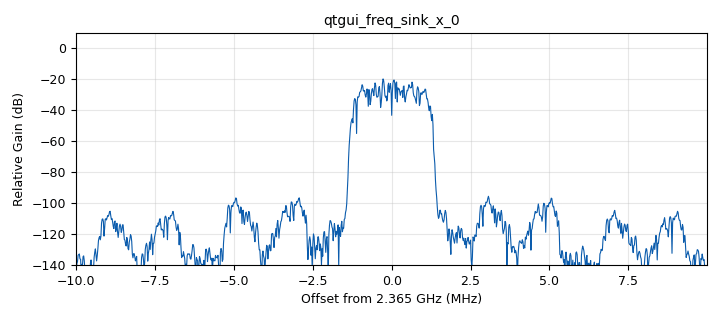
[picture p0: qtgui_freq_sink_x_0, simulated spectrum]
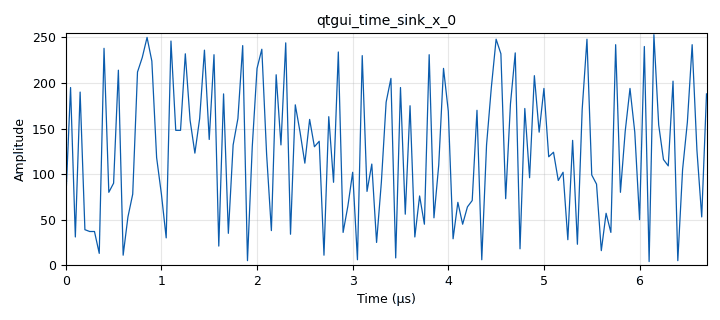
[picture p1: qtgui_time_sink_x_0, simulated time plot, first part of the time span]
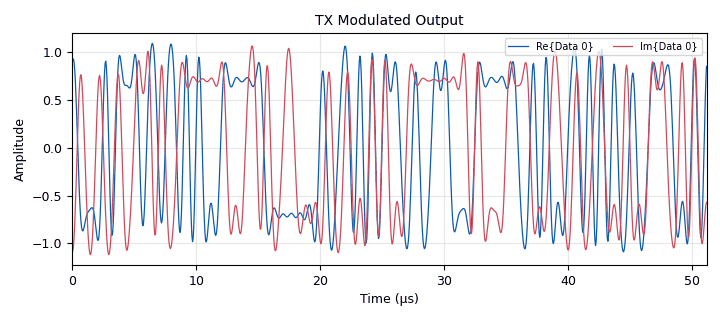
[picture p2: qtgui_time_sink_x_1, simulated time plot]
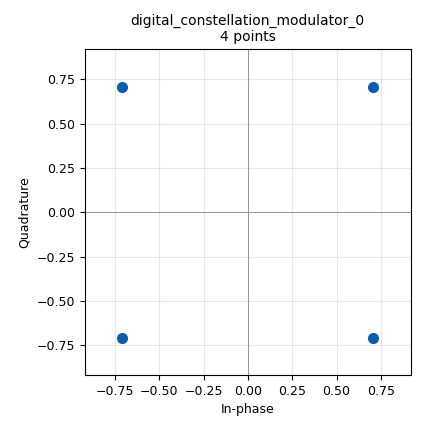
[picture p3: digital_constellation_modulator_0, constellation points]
options:
  parameters:
    author: matthew
    generate_options: qt_gui
    id: udp
    output_language: python
    title: Not titled yet
  states: {}

blocks:
- name: center_freq
  id: variable
  parameters:
    value: 2.365e9
  states: {}
- name: delay
  id: variable_qtgui_range
  parameters:
    comment: 0,3,1,1
    gui_hint: 5,1,1,1
    label: Delay
    rangeType: int
    start: '0'
    step: '1'
    stop: '500'
    value: '110'
  states: {}
- name: noise_volt
  id: variable_qtgui_range
  parameters:
    comment: 0,0,1,1
    gui_hint: 2,1,1,1
    label: 'Channel: Noise Voltage'
    start: '0'
    step: '0.01'
    stop: '1'
    value: '0.2'
  states: {}
- name: qpsk
  id: variable_constellation_rect
  parameters:
    const_points: '[0.707+0.707j, -0.707+0.707j, -0.707-0.707j, 0.707-0.707j]'
    imag_sect: '2'
    real_sect: '2'
    rot_sym: '4'
    sym_map: '[0, 1, 2, 3]'
    w_imag_sect: '1'
    w_real_sect: '1'
  states: {}
- name: rrc_taps
  id: variable_qtgui_range
  parameters:
    comment: 0,0,1,1
    gui_hint: 7,1,1,1
    label: RRC taps
    rangeType: int
    start: '0'
    step: '1'
    stop: '32'
    value: '8'
  states: {}
- name: samp_rate
  id: variable
  parameters:
    value: '20000000'
  states: {}
- name: signal_bandwidth
  id: variable
  parameters:
    comment: |-
      Adjust this value to set the 
      bandwidth of the signal
    value: 2e6
  states: {}
- name: sps
  id: variable
  parameters:
    value: int(samp_rate/signal_bandwidth)
  states: {}
- name: variable_adaptive_algorithm_0
  id: variable_adaptive_algorithm
  parameters:
    cons: qpsk
    modulus: '4'
    step_size: '.0001'
    type: cma
  states: {}
- name: analog_agc_xx_0
  id: analog_agc_xx
  parameters:
    gain: '1.0'
    max_gain: '65536'
    rate: '50e-6'
    reference: '1.0'
    type: complex
  states: {state: disabled}
- name: analog_random_source_x_0
  id: analog_random_source_x
  parameters:
    max: '255'
    min: '0'
    num_samps: '275'
    repeat: 'True'
    type: byte
  states: {}
- name: blocks_delay_0
  id: blocks_delay
  parameters:
    delay: delay
    type: byte
  states: {state: disabled}
- name: blocks_stream_to_tagged_stream_0
  id: blocks_stream_to_tagged_stream
  parameters:
    len_tag_key: '"packet_len"'
    packet_len: '550'
    type: byte
  states: {}
- name: blocks_sub_xx_0
  id: blocks_sub_xx
  parameters:
    type: float
  states: {state: disabled}
- name: blocks_throttle2_0
  id: blocks_throttle2
  parameters:
    samples_per_second: samp_rate
    type: byte
  states: {}
- name: blocks_uchar_to_float_0
  id: blocks_uchar_to_float
  parameters: {}
  states: {state: disabled}
- name: blocks_uchar_to_float_0_0
  id: blocks_uchar_to_float
  parameters: {}
  states: {state: disabled}
- name: blocks_uchar_to_float_1
  id: blocks_uchar_to_float
  parameters: {}
  states: {}
- name: blocks_unpack_k_bits_bb_0
  id: blocks_unpack_k_bits_bb
  parameters:
    k: '2'
  states: {state: disabled}
- name: blocks_unpack_k_bits_bb_1
  id: blocks_unpack_k_bits_bb
  parameters:
    k: '8'
  states: {state: disabled}
- name: channels_channel_model_0
  id: channels_channel_model
  parameters:
    epsilon: '1.0'
    freq_offset: '0.0'
    noise_voltage: noise_volt
    seed: '0'
    taps: '1.0'
  states: {}
- name: digital_constellation_decoder_cb_0
  id: digital_constellation_decoder_cb
  parameters:
    constellation: qpsk
  states: {state: disabled}
- name: digital_constellation_modulator_0
  id: digital_constellation_modulator
  parameters:
    constellation: qpsk
    differential: 'True'
    excess_bw: '0.35'
    samples_per_symbol: sps
  states: {}
- name: digital_costas_loop_cc_0
  id: digital_costas_loop_cc
  parameters:
    order: '4'
    w: '62.8e-3'
  states: {state: disabled}
- name: digital_diff_decoder_bb_0
  id: digital_diff_decoder_bb
  parameters:
    coding: digital.DIFF_DIFFERENTIAL
    modulus: '4'
  states: {state: disabled}
- name: digital_linear_equalizer_0
  id: digital_linear_equalizer
  parameters:
    alg: variable_adaptive_algorithm_0
    num_taps: '15'
    sps: '2'
  states: {state: disabled}
- name: digital_map_bb_0
  id: digital_map_bb
  parameters:
    map: '[0, 1, 2, 3]'
  states: {state: disabled}
- name: digital_symbol_sync_xx_0
  id: digital_symbol_sync_xx
  parameters:
    damping: '1.0'
    loop_bw: '62.8e-3'
    max_dev: '1.5'
    osps: '2'
    resamp_type: digital.IR_MMSE_8TAP
    sps: sps
    ted_gain: '1.0'
    ted_type: digital.TED_SIGNAL_TIMES_SLOPE_ML
    type: cc
  states: {state: disabled}
- name: fec_ber_bf_0
  id: fec_ber_bf
  parameters:
    test_mode: 'False'
  states: {state: disabled}
- name: network_udp_source_0
  id: network_udp_source
  parameters:
    header: '0'
    ipv6: 'False'
    notify_missed: 'False'
    payloadsize: '8'
    port: '12000'
    src_zeros: 'False'
    type: byte
  states: {state: disabled}
- name: qtgui_const_sink_x_0
  id: qtgui_const_sink_x
  parameters:
    size: '1024'
    type: complex
  states: {state: disabled}
- name: qtgui_freq_sink_x_0
  id: qtgui_freq_sink_x
  parameters:
    bw: samp_rate
    fc: center_freq
    fftsize: '1024'
    type: complex
  states: {}
- name: qtgui_number_sink_0
  id: qtgui_number_sink
  parameters:
    autoscale: 'True'
    graph_type: qtgui.NUM_GRAPH_HORIZ
    gui_hint: 6,1,1,1
    type: float
  states: {state: disabled}
- name: qtgui_time_sink_x_0
  id: qtgui_time_sink_x
  parameters:
    size: '1024'
    srate: samp_rate
    type: float
    ymax: '255'
    ymin: '0'
  states: {}
- name: qtgui_time_sink_x_1
  id: qtgui_time_sink_x
  parameters:
    autoscale: 'True'
    name: '"TX Modulated Output"'
    size: '1024'
    srate: samp_rate
    tr_level: '0.1'
    type: complex
  states: {}
- name: qtgui_time_sink_x_1_0
  id: qtgui_time_sink_x
  parameters:
    autoscale: 'True'
    name: '"RX Filtered Modulated Input"'
    size: '1024'
    srate: samp_rate
    type: complex
  states: {state: disabled}
- name: qtgui_time_sink_x_2
  id: qtgui_time_sink_x
  parameters:
    nconnections: '3'
    size: '1024'
    srate: samp_rate
    type: float
  states: {state: disabled}
- name: root_raised_cosine_filter_0
  id: root_raised_cosine_filter
  parameters:
    alpha: '0.35'
    decim: '1'
    gain: '1'
    ntaps: rrc_taps
    samp_rate: samp_rate
    sym_rate: sps
    type: fir_filter_ccf
  states: {state: disabled}
- name: soapy_limesdr_sink_0
  id: soapy_limesdr_sink
  parameters:
    center_freq: center_freq
    gain: '-12'
    samp_rate: samp_rate
    type: fc32
  states: {}
- name: virtual_sink_0
  id: virtual_sink
  parameters:
    stream_id: pkt_out
  states: {}
- name: virtual_sink_1
  id: virtual_sink
  parameters:
    stream_id: tx
  states: {}
- name: virtual_sink_1_0
  id: virtual_sink
  parameters:
    stream_id: rx_digital
  states: {state: disabled}
- name: virtual_sink_2
  id: virtual_sink
  parameters:
    stream_id: rx
  states: {}
- name: virtual_sink_2_0
  id: virtual_sink
  parameters:
    stream_id: symbol_out
  states: {state: disabled}
- name: virtual_source_0
  id: virtual_source
  parameters:
    stream_id: tx
  states: {}
- name: virtual_source_1
  id: virtual_source
  parameters:
    stream_id: rx
  states: {state: disabled}
- name: virtual_source_1_0
  id: virtual_source
  parameters:
    stream_id: symbol_out
  states: {state: disabled}
- name: virtual_source_1_1
  id: virtual_source
  parameters:
    stream_id: rx_digital
  states: {state: disabled}
- name: virtual_source_1_1_0
  id: virtual_source
  parameters:
    stream_id: pkt_out
  states: {state: disabled}

connections:
- [analog_agc_xx_0, '0', digital_symbol_sync_xx_0, '0']
- [analog_agc_xx_0, '0', qtgui_time_sink_x_1_0, '0']
- [analog_random_source_x_0, '0', blocks_stream_to_tagged_stream_0, '0']
- [blocks_delay_0, '0', blocks_uchar_to_float_0, '0']
- [blocks_delay_0, '0', fec_ber_bf_0, '1']
- [blocks_stream_to_tagged_stream_0, '0', blocks_throttle2_0, '0']
- [blocks_sub_xx_0, '0', qtgui_time_sink_x_2, '1']
- [blocks_throttle2_0, '0', blocks_uchar_to_float_1, '0']
- [blocks_throttle2_0, '0', digital_constellation_modulator_0, '0']
- [blocks_throttle2_0, '0', virtual_sink_0, '0']
- [blocks_uchar_to_float_0, '0', blocks_sub_xx_0, '1']
- [blocks_uchar_to_float_0, '0', qtgui_time_sink_x_2, '2']
- [blocks_uchar_to_float_0_0, '0', blocks_sub_xx_0, '0']
- [blocks_uchar_to_float_0_0, '0', qtgui_time_sink_x_2, '0']
- [blocks_uchar_to_float_1, '0', qtgui_time_sink_x_0, '0']
- [blocks_unpack_k_bits_bb_0, '0', blocks_uchar_to_float_0_0, '0']
- [blocks_unpack_k_bits_bb_0, '0', fec_ber_bf_0, '0']
- [blocks_unpack_k_bits_bb_1, '0', blocks_delay_0, '0']
- [channels_channel_model_0, '0', virtual_sink_2, '0']
- [digital_constellation_decoder_cb_0, '0', digital_diff_decoder_bb_0, '0']
- [digital_constellation_modulator_0, '0', qtgui_freq_sink_x_0, '0']
- [digital_constellation_modulator_0, '0', qtgui_time_sink_x_1, '0']
- [digital_constellation_modulator_0, '0', virtual_sink_1, '0']
- [digital_costas_loop_cc_0, '0', virtual_sink_2_0, '0']
- [digital_diff_decoder_bb_0, '0', digital_map_bb_0, '0']
- [digital_linear_equalizer_0, '0', digital_costas_loop_cc_0, '0']
- [digital_map_bb_0, '0', virtual_sink_1_0, '0']
- [digital_symbol_sync_xx_0, '0', digital_linear_equalizer_0, '0']
- [fec_ber_bf_0, '0', qtgui_number_sink_0, '0']
- [network_udp_source_0, '0', blocks_stream_to_tagged_stream_0, '0']
- [root_raised_cosine_filter_0, '0', analog_agc_xx_0, '0']
- [virtual_source_0, '0', channels_channel_model_0, '0']
- [virtual_source_0, '0', soapy_limesdr_sink_0, '0']
- [virtual_source_1, '0', root_raised_cosine_filter_0, '0']
- [virtual_source_1_0, '0', digital_constellation_decoder_cb_0, '0']
- [virtual_source_1_0, '0', qtgui_const_sink_x_0, '0']
- [virtual_source_1_1, '0', blocks_unpack_k_bits_bb_0, '0']
- [virtual_source_1_1_0, '0', blocks_unpack_k_bits_bb_1, '0']

metadata:
  file_format: 1
  grc_version: 3.10.12.0
